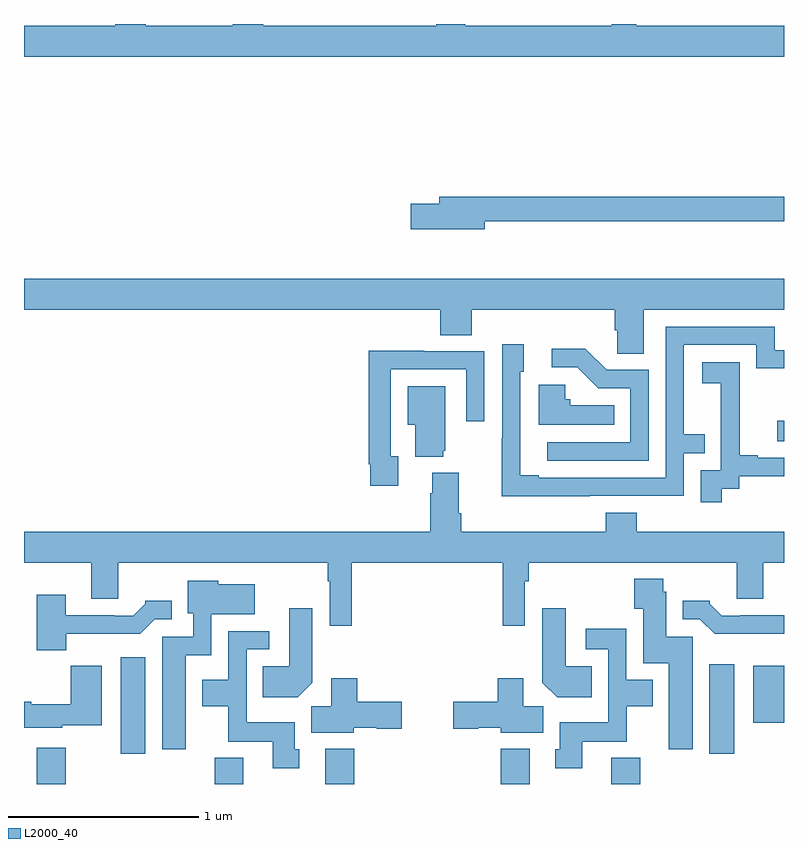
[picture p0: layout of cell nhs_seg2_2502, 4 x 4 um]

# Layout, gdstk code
import gdstk
lib = gdstk.Library(unit=1e-6, precision=1e-09)
def R(c, l, rs):  # rectangles x0, y0, x1, y1
    for r in rs: c.add(gdstk.rectangle(r[:2], r[2:], *l))
def P(c, l, *ps):  # polygons
    for p in ps: c.add(gdstk.Polygon(p, *l))
L2000_40 = (2000, 40)

nhs_seg2_2502 = lib.new_cell('nhs_seg2_2502')
R(nhs_seg2_2502, L2000_40, [(241.067,651.8,241.219,651.991), (242.003,651.8,242.155,651.937), (242.585,651.8,242.738,651.985), (243.509,651.8,243.661,651.985), (244.091,651.8,244.244,651.937), (241.508,651.96,241.639,652.468), (244.607,651.96,244.738,652.429), (244.838,652.122,245,652.423), (244.965,653.604,245,653.713)])
P(nhs_seg2_2502, L2000_40, [(245,655.792),(244.223,655.792),(244.223,655.8),(244.094,655.8),(244.094,655.792),(243.322,655.792),(243.322,655.8),(243.17,655.8),(243.17,655.792),(242.258,655.792),(242.258,655.8),(242.098,655.8),(242.098,655.792),(241.641,655.792),(241.641,655.8),(241.481,655.8),(241.481,655.792),(241,655.792),(241,655.628),(245,655.628)],
  [(243.424,654.762),(245,654.762),(245,654.89),(243.185,654.89),(243.185,654.854),(243.036,654.854),(243.036,654.719),(243.424,654.719)],
  [(244.261,654.296),(245,654.296),(245,654.46),(241,654.46),(241,654.296),(243.191,654.296),(243.191,654.163),(243.356,654.163),(243.356,654.296),(244.109,654.296),(244.109,654.187),(244.122,654.187),(244.122,654.064),(244.261,654.064)],
  [(243.977,653.316),(244.473,653.316),(244.473,653.541),(244.583,653.541),(244.583,653.642),(244.473,653.642),(244.473,654.111),(244.854,654.111),(244.854,653.988),(245,653.988),(245,654.084),(244.951,654.084),(244.951,654.207),(244.377,654.207),(244.377,653.412),(243.709,653.412),(243.709,653.425),(243.612,653.425),(243.612,653.97),(243.631,653.97),(243.631,654.115),(243.516,654.115),(243.516,653.621),(243.514,653.621),(243.514,653.315),(243.977,653.315)],
  [(244.287,653.979),(244.068,653.979),(243.955,654.092),(243.777,654.092),(243.777,653.994),(243.911,653.994),(244.022,653.883),(244.191,653.883),(244.191,653.598),(243.753,653.598),(243.753,653.502),(244.287,653.502)],
  [(242.971,653.526),(242.931,653.526),(242.931,653.982),(243.327,653.982),(243.327,653.709),(243.423,653.709),(243.423,654.078),(243.107,654.078),(243.107,654.08),(242.815,654.08),(242.815,653.482),(242.823,653.482),(242.823,653.37),(242.971,653.37)],
  [(244.672,653.353),(244.764,653.353),(244.764,653.421),(245,653.421),(245,653.517),(244.861,653.517),(244.861,653.53),(244.766,653.53),(244.766,653.813),(244.767,653.813),(244.767,654.019),(244.569,654.019),(244.569,653.909),(244.667,653.909),(244.667,653.681),(244.668,653.681),(244.668,653.451),(244.563,653.451),(244.563,653.283),(244.672,653.283)],
  [(244.106,653.794),(243.876,653.794),(243.876,653.826),(243.849,653.826),(243.849,653.902),(243.71,653.902),(243.71,653.69),(244.106,653.69)],
  [(243.206,653.553),(243.217,653.553),(243.217,653.893),(243.02,653.893),(243.02,653.69),(243.059,653.69),(243.059,653.522),(243.206,653.522)],
  [(242.726,652.964),(243.52,652.964),(243.52,652.632),(243.636,652.632),(243.636,652.868),(243.656,652.868),(243.656,652.964),(244.751,652.964),(244.751,652.774),(244.891,652.774),(244.891,652.964),(245,652.964),(245,653.128),(244.226,653.128),(244.226,653.227),(244.061,653.227),(244.061,653.128),(243.302,653.128),(243.302,653.224),(243.289,653.224),(243.289,653.437),(243.149,653.437),(243.149,653.33),(243.137,653.33),(243.137,653.128),(241,653.128),(241,652.964),(241.355,652.964),(241.355,652.774),(241.495,652.774),(241.495,652.964),(242.598,652.964),(242.598,652.868),(242.61,652.868),(242.61,652.632),(242.726,652.632)],
  [(244.519,652.575),(244.381,652.575),(244.381,652.812),(244.365,652.812),(244.365,652.879),(244.213,652.879),(244.213,652.723),(244.259,652.723),(244.259,652.436),(244.394,652.436),(244.394,651.984),(244.519,651.984)],
  [(241.852,652.478),(241.986,652.478),(241.986,652.694),(242.215,652.694),(242.215,652.852),(242.022,652.852),(242.022,652.87),(241.862,652.87),(241.862,652.698),(241.89,652.698),(241.89,652.575),(241.727,652.575),(241.727,651.984),(241.852,651.984)],
  [(241.222,652.592),(241.613,652.592),(241.689,652.668),(241.777,652.668),(241.777,652.765),(241.638,652.765),(241.638,652.75),(241.574,652.686),(241.475,652.686),(241.475,652.689),(241.219,652.689),(241.219,652.795),(241.067,652.795),(241.067,652.505),(241.222,652.505)],
  [(245,652.689),(244.771,652.689),(244.771,652.686),(244.672,652.686),(244.608,652.75),(244.608,652.765),(244.466,652.765),(244.466,652.668),(244.557,652.668),(244.636,652.59),(245,652.59)],
  [(243.989,652.42),(243.85,652.42),(243.85,652.726),(243.728,652.726),(243.728,652.334),(243.806,652.256),(243.989,652.256)],
  [(242.518,652.334),(242.518,652.726),(242.396,652.726),(242.396,652.42),(242.257,652.42),(242.257,652.256),(242.44,652.256)],
  [(243.937,652.022),(244.173,652.022),(244.173,652.208),(244.309,652.208),(244.309,652.348),(244.17,652.348),(244.17,652.618),(243.957,652.618),(243.957,652.509),(244.074,652.509),(244.074,652.126),(243.821,652.126),(243.821,651.984),(243.797,651.984),(243.797,651.882),(243.937,651.882)],
  [(242.449,651.984),(242.425,651.984),(242.425,652.126),(242.172,652.126),(242.172,652.509),(242.29,652.509),(242.29,652.605),(242.076,652.605),(242.076,652.348),(241.937,652.348),(241.937,652.208),(242.074,652.208),(242.074,652.022),(242.309,652.022),(242.309,651.882),(242.449,651.882)],
  [(241.2,652.109),(241.408,652.109),(241.408,652.423),(241.246,652.423),(241.246,652.219),(241.038,652.219),(241.038,652.232),(241,652.232),(241,652.097),(241.2,652.097)],
  [(242.736,652.097),(242.856,652.097),(242.856,652.09),(242.989,652.09),(242.989,652.232),(242.753,652.232),(242.753,652.357),(242.618,652.357),(242.618,652.208),(242.513,652.208),(242.513,652.07),(242.736,652.07)],
  [(243.733,652.208),(243.628,652.208),(243.628,652.357),(243.494,652.357),(243.494,652.232),(243.258,652.232),(243.258,652.09),(243.39,652.09),(243.39,652.097),(243.51,652.097),(243.51,652.07),(243.733,652.07)])

lib.write_gds('nhs_seg2_2502.gds')
